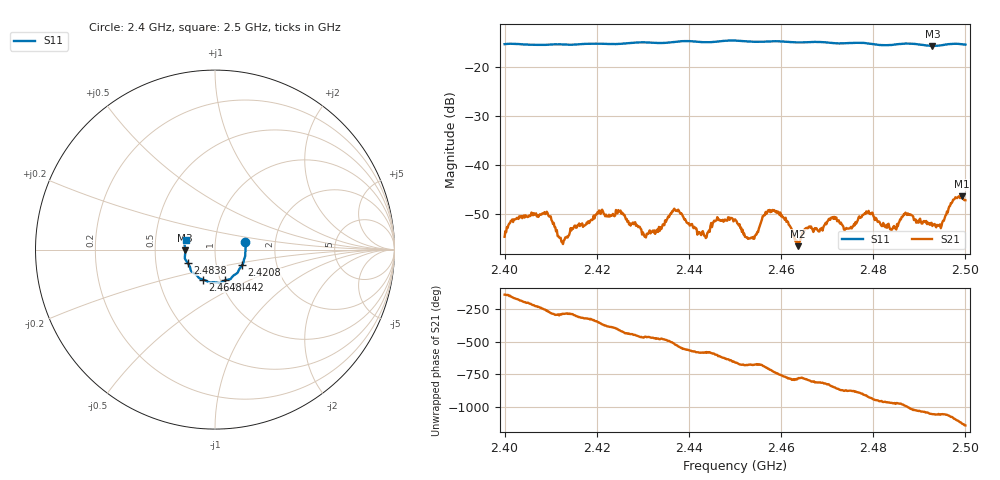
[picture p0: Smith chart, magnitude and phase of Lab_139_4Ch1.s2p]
# Hz S RI R 50
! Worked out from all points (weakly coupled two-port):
!   601 points, 2.4 GHz to 2.5 GHz, reference 50 ohm
!   highest |S21| = -46.31 dB at 2.4992 GHz (marker M1); lowest = -56.5 dB at 2.4637 GHz (marker M2)
!   lowest |S11| = -15.6 dB at 2.4928 GHz (marker M3), VSWR 1.40, Z = 35.8 - j0.355 ohm
!   |S11| at or under -10 dB: start of sweep to end of sweep
!   S12 and S22 are empty: the file has one direction only
!   S11 on the Smith chart (normalised r, x): 2.4 GHz: 1.40, +0.12; 2.4208 GHz: 1.33, -0.24; 2.4442 GHz: 1.05, -0.37; 2.4648 GHz: 0.83, -0.29; 2.4838 GHz: 0.73, -0.11; 2.5 GHz: 0.72, +0.08
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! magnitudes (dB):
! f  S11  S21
! 2.4 GHz  -15.3  -54.6
! 2.4063 GHz  -15.4  -49.8
! 2.4095 GHz  -15.4  -50.3
! 2.4125 GHz  -15.3  -55.7
! 2.4167 GHz  -15.2  -52.2
! 2.4208 GHz  -15.2  -49.9
! 2.4333 GHz  -15.0  -53.6
! 2.4372 GHz  -14.8  -49.3
! 2.4442 GHz  -14.9  -53.7
! 2.45 GHz  -14.5  -51.0
! 2.4537 GHz  -14.8  -54.7
! 2.4588 GHz  -14.7  -49.6
! 2.4637 GHz  -14.9  -56.5
! 2.4648 GHz  -14.9  -54.0
! 2.4667 GHz  -14.8  -52.9
! 2.4787 GHz  -15.1  -49.7
! 2.4833 GHz  -15.5  -52.0
! 2.4838 GHz  -15.4  -53.0
! 2.4872 GHz  -15.1  -50.0
! 2.4928 GHz  -15.6  -52.4
! 2.4992 GHz  -15.3  -46.3
! 2.5 GHz  -15.4  -47.1
